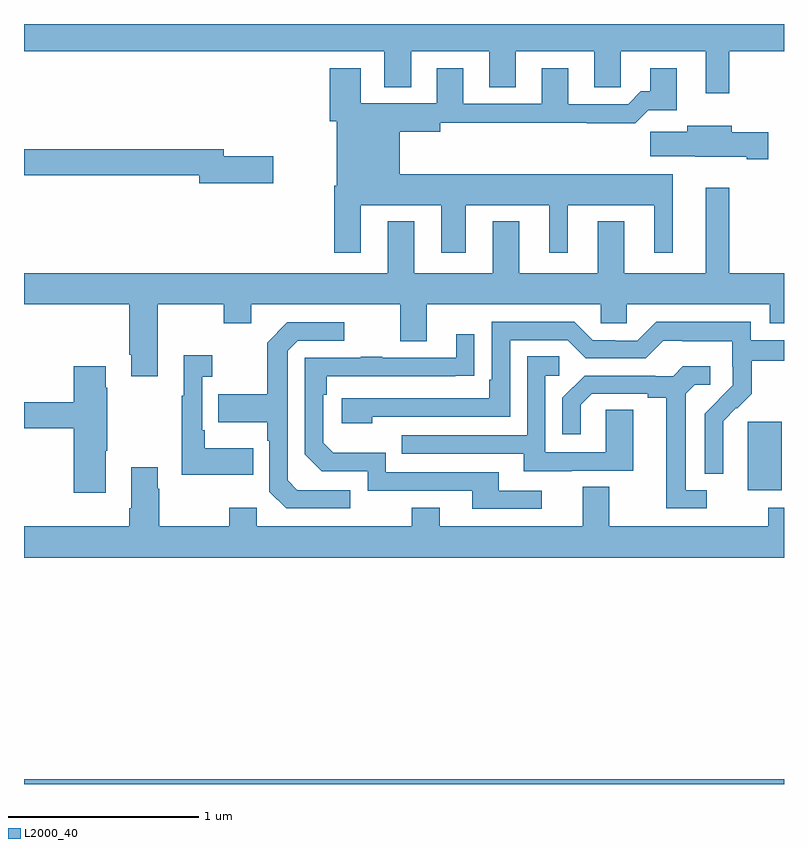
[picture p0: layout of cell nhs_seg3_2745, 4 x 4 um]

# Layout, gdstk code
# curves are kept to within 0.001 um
import gdstk
lib = gdstk.Library(unit=1e-6, precision=1e-09)
def R(c, l, rs):  # rectangles x0, y0, x1, y1
    for r in rs: c.add(gdstk.rectangle(r[:2], r[2:], *l))
def P(c, l, *ps):  # polygons
    for p in ps: c.add(gdstk.Polygon(p, *l))
L2000_40 = (2000, 40)

nhs_seg3_2745 = lib.new_cell('nhs_seg3_2745')
R(nhs_seg3_2745, L2000_40, [(253,690.4,257,690.424), (256.808,691.946,256.987,692.307)])
P(nhs_seg3_2745, L2000_40, [(256.711,694.256),(257,694.256),(257,694.4),(253,694.4),(253,694.256),(254.897,694.256),(254.897,694.067),(255.037,694.067),(255.037,694.256),(255.449,694.256),(255.449,694.066),(255.589,694.066),(255.589,694.256),(256.001,694.256),(256.001,694.066),(256.14,694.066),(256.14,694.256),(256.589,694.256),(256.589,694.035),(256.711,694.035)],
  [(254.773,693.446),(255.197,693.446),(255.197,693.195),(255.325,693.195),(255.325,693.446),(255.764,693.446),(255.764,693.195),(255.862,693.195),(255.862,693.446),(256.316,693.446),(256.316,693.195),(256.414,693.195),(256.414,693.61),(254.977,693.61),(254.977,693.833),(255.19,693.833),(255.19,693.88),(255.961,693.88),(255.961,693.878),(256.217,693.878),(256.286,693.947),(256.435,693.947),(256.435,694.168),(256.295,694.168),(256.295,694.045),(256.246,694.045),(256.179,693.978),(255.865,693.978),(255.865,694.168),(255.725,694.168),(255.725,693.981),(255.313,693.981),(255.313,694.168),(255.173,694.168),(255.173,693.982),(254.773,693.982),(254.773,694.168),(254.609,694.168),(254.609,693.888),(254.645,693.888),(254.645,693.55),(254.633,693.55),(254.633,693.195),(254.773,693.195)],
  [(256.918,693.831),(256.726,693.831),(256.726,693.865),(256.49,693.865),(256.49,693.833),(256.296,693.833),(256.296,693.704),(256.533,693.704),(256.533,693.701),(256.805,693.701),(256.805,693.689),(256.918,693.689)],
  [(254.311,693.704),(254.05,693.704),(254.05,693.74),(253,693.74),(253,693.604),(253.922,693.604),(253.922,693.562),(254.311,693.562)],
  [(253.705,692.924),(254.05,692.924),(254.05,692.825),(254.197,692.825),(254.197,692.924),(254.981,692.924),(254.981,692.73),(255.121,692.73),(255.121,692.924),(256.035,692.924),(256.035,692.826),(256.173,692.826),(256.173,692.924),(256.925,692.924),(256.925,692.825),(257,692.825),(257,693.088),(256.711,693.088),(256.711,693.538),(256.589,693.538),(256.589,693.088),(256.159,693.088),(256.159,693.361),(256.019,693.361),(256.019,693.088),(255.607,693.088),(255.607,693.361),(255.467,693.361),(255.467,693.088),(255.055,693.088),(255.055,693.361),(254.915,693.361),(254.915,693.088),(253,693.088),(253,692.924),(253.553,692.924),(253.553,692.659),(253.565,692.659),(253.565,692.547),(253.705,692.547)],
  [(256.68,692.186),(256.679,692.309),(256.749,692.379),(256.752,692.376),(256.829,692.453),(256.829,692.628),(257,692.628),(257,692.736),(256.824,692.736),(256.824,692.833),(256.327,692.833),(256.227,692.733),(256.112,692.733),(256.112,692.736),(255.993,692.736),(255.897,692.832),(255.462,692.832),(255.462,692.527),(255.449,692.527),(255.449,692.43),(254.673,692.43),(254.673,692.3),(254.834,692.3),(254.834,692.334),(255.558,692.334),(255.558,692.736),(255.861,692.736),(255.957,692.64),(256.272,692.64),(256.365,692.733),(256.465,692.733),(256.465,692.729),(256.728,692.729),(256.728,692.595),(256.73,692.595),(256.73,692.498),(256.584,692.35),(256.584,692.032),(256.68,692.032)],
  [(254.716,691.947),(254.439,691.947),(254.388,691.998),(254.388,692.679),(254.442,692.733),(254.686,692.733),(254.686,692.829),(254.385,692.829),(254.28,692.723),(254.28,692.451),(254.023,692.451),(254.023,692.303),(254.28,692.303),(254.28,692.207),(254.292,692.207),(254.292,691.938),(254.379,691.851),(254.716,691.851)],
  [(255.724,691.944),(255.499,691.944),(255.499,692.04),(254.904,692.04),(254.904,692.143),(254.627,692.143),(254.574,692.196),(254.574,692.45),(254.594,692.45),(254.594,692.547),(255.371,692.548),(255.371,692.767),(255.275,692.767),(255.275,692.643),(254.885,692.643),(254.885,692.648),(254.773,692.648),(254.773,692.643),(254.478,692.643),(254.478,692.136),(254.568,692.046),(254.808,692.046),(254.808,691.944),(255.359,691.944),(255.359,691.848),(255.724,691.848)],
  [(254.207,692.167),(253.951,692.167),(253.951,692.263),(253.938,692.263),(253.938,692.543),(253.99,692.543),(253.99,692.656),(253.841,692.656),(253.841,692.443),(253.83,692.443),(253.83,692.027),(254.207,692.027)],
  [(255.883,692.049),(256.207,692.049),(256.207,692.369),(256.062,692.369),(256.062,692.145),(255.744,692.145),(255.744,692.55),(255.817,692.55),(255.817,692.651),(255.648,692.651),(255.648,692.235),(254.989,692.235),(254.989,692.139),(255.629,692.139),(255.629,692.045),(255.883,692.045)],
  [(253.429,692.155),(253.437,692.155),(253.437,692.486),(253.429,692.486),(253.429,692.599),(253.262,692.599),(253.262,692.408),(253,692.408),(253,692.272),(253.262,692.272),(253.262,691.932),(253.429,691.932)],
  [(256.594,691.947),(256.483,691.947),(256.483,692.455),(256.53,692.502),(256.612,692.502),(256.612,692.599),(256.468,692.599),(256.416,692.547),(256.322,692.547),(256.322,692.55),(255.95,692.55),(255.834,692.434),(255.834,692.241),(255.931,692.241),(255.931,692.397),(255.988,692.454),(256.283,692.454),(256.283,692.432),(256.379,692.432),(256.379,691.851),(256.594,691.851)],
  [(257,691.855),(256.918,691.855),(256.918,691.756),(256.081,691.756),(256.081,691.964),(255.941,691.964),(255.941,691.756),(255.187,691.756),(255.187,691.855),(255.04,691.855),(255.04,691.756),(254.226,691.756),(254.226,691.855),(254.08,691.855),(254.08,691.756),(253.713,691.756),(253.713,691.955),(253.705,691.955),(253.705,692.068),(253.565,692.068),(253.565,691.852),(253.553,691.852),(253.553,691.756),(253,691.756),(253,691.592),(257,691.592)])

lib.write_gds('nhs_seg3_2745.gds')
